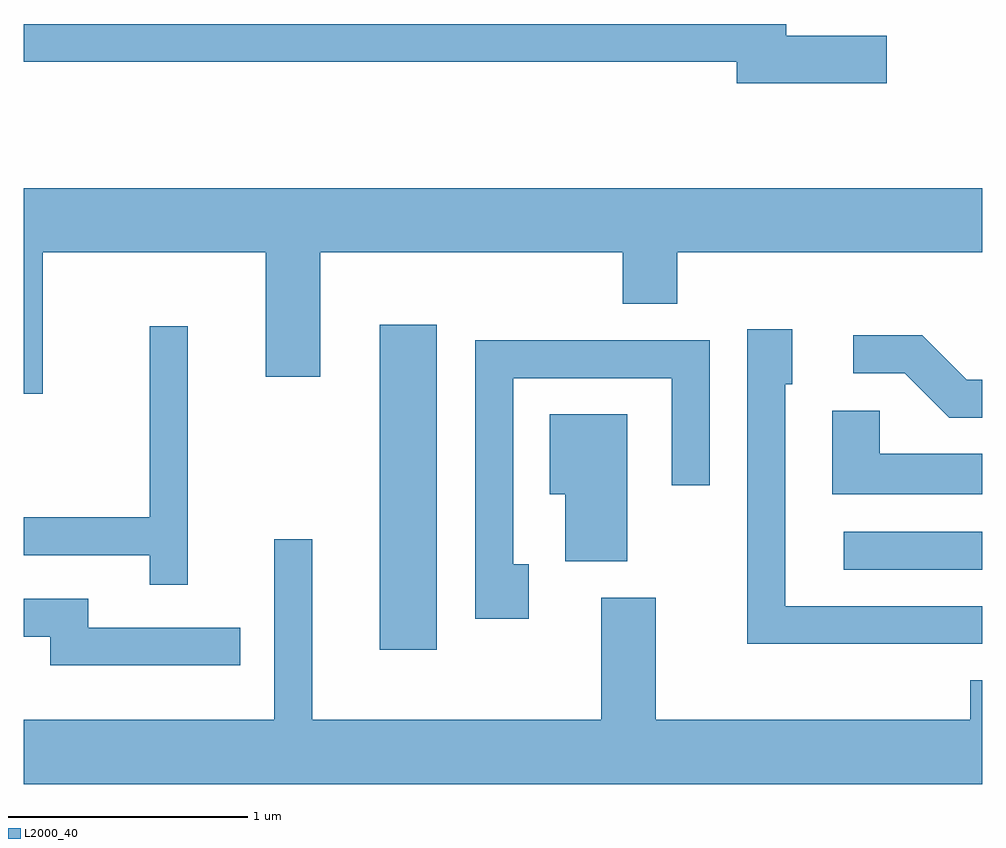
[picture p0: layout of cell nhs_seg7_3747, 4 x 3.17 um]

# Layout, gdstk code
import gdstk
lib = gdstk.Library(unit=1e-6, precision=1e-09)
def R(c, l, rs):  # rectangles x0, y0, x1, y1
    for r in rs: c.add(gdstk.rectangle(r[:2], r[2:], *l))
def P(c, l, *ps):  # polygons
    for p in ps: c.add(gdstk.Polygon(p, *l))
L2000_40 = (2000, 40)

nhs_seg7_3747 = lib.new_cell('nhs_seg7_3747')
R(nhs_seg7_3747, L2000_40, [(301.096,1754.836,301.334,1756.194), (303.033,1755.171,303.611,1755.329)])
P(nhs_seg7_3747, L2000_40, [(303.214,1757.399),(302.794,1757.399),(302.794,1757.449),(299.611,1757.449),(299.611,1757.291),(302.586,1757.291),(302.586,1757.201),(303.214,1757.201)],
  [(299.689,1756.496),(300.621,1756.496),(300.621,1755.976),(300.849,1755.976),(300.849,1756.496),(302.111,1756.496),(302.111,1756.281),(302.339,1756.281),(302.339,1756.496),(303.611,1756.496),(303.611,1756.764),(299.611,1756.764),(299.611,1755.906),(299.689,1755.906)],
  [(300.294,1756.188),(300.136,1756.188),(300.136,1755.389),(299.611,1755.389),(299.611,1755.231),(300.136,1755.231),(300.136,1755.108),(300.294,1755.108)],
  [(303.611,1755.019),(302.789,1755.019),(302.789,1755.946),(302.819,1755.946),(302.819,1756.174),(302.631,1756.174),(302.631,1754.861),(303.611,1754.861)],
  [(303.611,1755.964),(303.547,1755.964),(303.362,1756.149),(303.073,1756.149),(303.073,1755.991),(303.289,1755.991),(303.474,1755.806),(303.611,1755.806)],
  [(301.719,1755.194),(301.654,1755.194),(301.654,1755.971),(302.316,1755.971),(302.316,1755.523),(302.474,1755.523),(302.474,1756.129),(301.496,1756.129),(301.496,1754.966),(301.719,1754.966)],
  [(303.611,1755.654),(303.184,1755.654),(303.184,1755.834),(302.986,1755.834),(302.986,1755.486),(303.611,1755.486)],
  [(302.129,1755.819),(301.806,1755.819),(301.806,1755.486),(301.871,1755.486),(301.871,1755.206),(302.129,1755.206)],
  [(303.611,1754.709),(303.561,1754.709),(303.561,1754.544),(302.249,1754.544),(302.249,1755.054),(302.021,1755.054),(302.021,1754.544),(300.814,1754.544),(300.814,1755.298),(300.656,1755.298),(300.656,1754.544),(299.611,1754.544),(299.611,1754.276),(303.611,1754.276)],
  [(300.513,1754.929),(299.879,1754.929),(299.879,1755.049),(299.611,1755.049),(299.611,1754.891),(299.721,1754.891),(299.721,1754.771),(300.513,1754.771)])

lib.write_gds('nhs_seg7_3747.gds')
